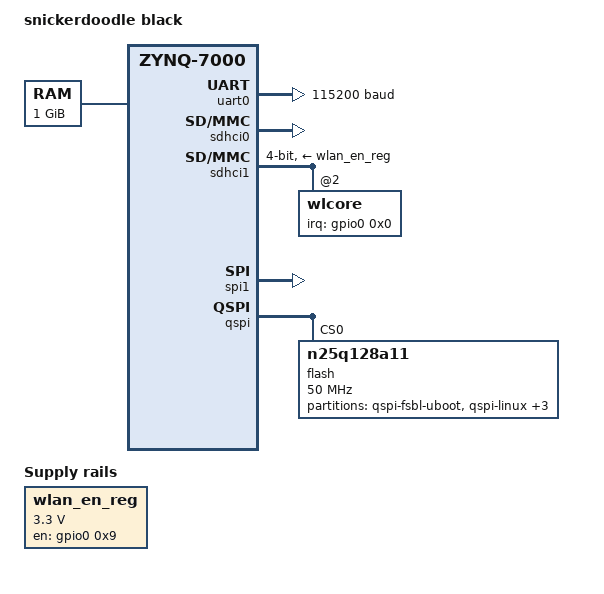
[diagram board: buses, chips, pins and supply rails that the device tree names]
/*
 * snickerdoodle black board DTS
 *
 * Copyright (c) 2016 krtkl inc.
 *
 * SPDX-License-Identifier:     GPL-2.0+
 */


/dts-v1/;
/include/ "zynq-7000.dtsi"
/ {
        model = "snickerdoodle black";
        compatible = "xlnx,zynq-snickerdoodle-black", "xlnx,zynq-7000";

	cpus {
		cpu@0 {
			operating-points = <0xD396A 0xF4240 0x69CB5 0xF4240>;
		};
	};

	chosen {
		bootargs = "console=/dev/null root=/dev/mmcblk0p2 rw rootwait earlyprintk";
                linux,stdout-path = &uart0;
                stdout-path = &uart0;
	};

	aliases {
		serial0 = &uart0;
		serial1 = &uart1;
		serial2 = &uart2;
		spi0 = &qspi;
		mmc0 = &sdhci0;
		mmc1 = &sdhci1;
	};

	memory {
		device_type = "memory";
		reg = <0x0 0x40000000>;
	};

        wlan_en_reg: fixedregulator@1 {
                compatible = "regulator-fixed";
                regulator-name = "wlan-en-regulator";
                regulator-min-microvolt = <0x325aa0>;           /* Specified as 3.3V for driver, actually 1.8V */
                regulator-max-microvolt = <0x325aa0>;
                gpio = <&gpio0 0x9 0x4>;                        /* WLAN_EN GPIO 9 on B5 */
                startup-delay-us = <0x11170>;
                enable-active-high;
                linux,phandle = <0x6>;
                phandle = <0x6>;
        };
};

&intc {
	num_cpus = <2>;
	num_interrupts = <96>;
};

&clkc {
	fclk-enable = <0x1>;
	ps-clk-frequency = <33333333>;
};


&gpio0 {
        interrupt-controller;
        #interrupt-cells = <0x2>;
        emio-gpio-width = <0x40>;
        gpio-mask-high = <0x0>;
        gpio-mask-low = <0x5600>;
        xlnx,emio-gpio-width = <0x40>;
        xlnx,mio-gpio-mask = <0x5600>;
        linux,phandle = <0x4>;
        phandle = <0x4>;
};

&uart0 {
	u-boot,dm-pre-reloc;
        status = "okay";
        interrupt-parent = <&intc>;
        xlnx,has-modem = <0x0>;
        current-speed = <0x1c200>;                              /* 115200 */
        device_type = "serial";
        port-number = <0x0>;
};

&sdhci0 {
	u-boot,dm-pre-reloc;
        status = "okay";
};

&sdhci1 {
	u-boot,dm-pre-reloc;
        status = "okay";
        vmmc-supply = <&wlan_en_reg>;
        bus-width = <0x4>;
        cap-power-off-card;
        keep-power-in-suspend;

        #address-cells = <0x1>;
        #size-cells = <0x0>;
        wlcore: wlcore@0 {
                compatible = "wlcore", "ti,wl1837";
                reg = <2>;
                interrupt-parent = <&gpio0>;
                interrupts = <0x0 0x4>;
        };
};

&spi1 {
	u-boot,dm-pre-reloc;
	status = "okay";
};

&qspi {
	u-boot,dm-pre-reloc;
	status = "okay";
	is-dual = <0x0>;
	num-cs = <0x1>;
	xlnx,qspi-mode = <0x0>;

	flash@0 {
		compatible = "n25q128a11";
		reg = <0x0>;
                spi-tx-bus-width = <0x1>;
                spi-rx-bus-width = <0x4>;
                spi-max-frequency = <0x2faf080>;
                #address-cells = <0x1>;
                #size-cells = <0x1>;

                partition@qspi-fsbl-uboot {
                	label = "qspi-fsbl-uboot";
                        reg = <0x0 0x100000>;
                };

                partition@qspi-linux {
                        label = "qspi-linux";
                        reg = <0x100000 0x500000>;
                };

                partition@qspi-device-tree {
                        label = "qspi-device-tree";
                        reg = <0x600000 0x20000>;
                };

                partition@qspi-rootfs {
                     	label = "qspi-rootfs";
                     	reg = <0x620000 0x5e0000>;
                };

                partition@qspi-bitstream {
                    	label = "qspi-bitstream";
                    	reg = <0xc00000 0x400000>;
                };
        };
};
